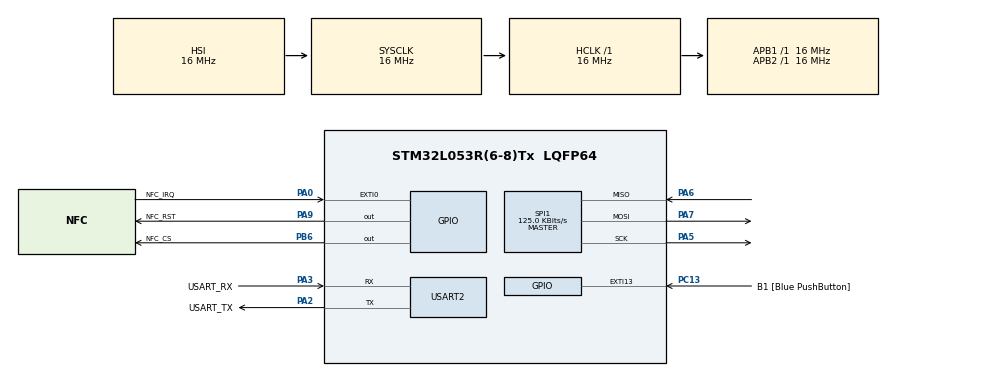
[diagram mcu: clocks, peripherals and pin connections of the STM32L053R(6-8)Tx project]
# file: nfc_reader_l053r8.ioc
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Mcu.Family=STM32L0
Mcu.Name=STM32L053R(6-8)Tx
Mcu.Package=LQFP64
PA0.GPIO_Label=NFC_IRQ
PA0.GPIO_ModeDefaultEXTI=GPIO_MODE_IT_RISING
PA0.GPIO_PuPd=GPIO_NOPULL
PA0.Signal=GPXTI0
PA13.GPIO_Label=TMS
PA13.Mode=Serial_Wire
PA13.Signal=SYS_SWDIO
PA14.GPIO_Label=TCK
PA14.Mode=Serial_Wire
PA14.Signal=SYS_SWCLK
PA2.GPIO_Label=USART_TX
PA2.Mode=Asynchronous
PA2.Signal=USART2_TX
PA3.GPIO_Label=USART_RX
PA3.Mode=Asynchronous
PA3.Signal=USART2_RX
PA5.Mode=Full_Duplex_Master
PA5.Signal=SPI1_SCK
PA6.Mode=Full_Duplex_Master
PA6.Signal=SPI1_MISO
PA7.Mode=Full_Duplex_Master
PA7.Signal=SPI1_MOSI
PA9.GPIO_Label=NFC_RST
PA9.PinState=GPIO_PIN_RESET
PA9.Signal=GPIO_Output
PB6.GPIO_Label=NFC_CS
PB6.PinState=GPIO_PIN_SET
PB6.Signal=GPIO_Output
PC13.GPIO_Label=B1 [Blue PushButton]
PC13.GPIO_ModeDefaultEXTI=GPIO_MODE_IT_FALLING
PC13.Signal=GPXTI13
PC14-OSC32_IN.Mode=LSE-External-Oscillator
PC14-OSC32_IN.Signal=RCC_OSC32_IN
PC15-OSC32_OUT.Mode=LSE-External-Oscillator
PC15-OSC32_OUT.Signal=RCC_OSC32_OUT
PH0-OSC_IN.Mode=HSE-External-Clock-Source
PH0-OSC_IN.Signal=RCC_OSC_IN
PH1-OSC_OUT.Signal=RCC_OSC_OUT
ProjectManager.HeapSize=0x200
ProjectManager.StackSize=0x400
ProjectManager.TargetToolchain=STM32CubeIDE
RCC.AHBFreq_Value=16000000
RCC.APB1Freq_Value=16000000
RCC.APB1TimFreq_Value=16000000
RCC.APB2Freq_Value=16000000
RCC.APB2TimFreq_Value=16000000
RCC.HCLKFreq_Value=16000000
RCC.HSE_VALUE=8000000
RCC.HSI16_VALUE=16000000
RCC.HSI48_VALUE=48000000
RCC.HSI_VALUE=16000000
RCC.MSI_VALUE=2097000
RCC.SYSCLKFreq_VALUE=16000000
RCC.SYSCLKSource=RCC_SYSCLKSOURCE_HSI
RCC.VCOOutputFreq_Value=48000000
SPI1.BaudRatePrescaler=SPI_BAUDRATEPRESCALER_128
SPI1.CLKPhase=SPI_PHASE_2EDGE
SPI1.CalculateBaudRate=125.0 KBits/s
SPI1.Direction=SPI_DIRECTION_2LINES
SPI1.Mode=SPI_MODE_MASTER
SPI1.VirtualType=VM_MASTER
TIM2.Prescaler=15
USART2.VirtualMode-Asynchronous=VM_ASYNC
VP_TIM2_VS_ClockSourceINT.Mode=Internal
board=NUCLEO-L053R8

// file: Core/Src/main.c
/* USER CODE BEGIN Header */
/**
 ******************************************************************************
 * @file           : main.c
 * @brief          : Main program body
 ******************************************************************************
 * @attention
 *
 * Copyright (c) 2026 STMicroelectronics.
 * All rights reserved.
 *
 * This software is licensed under terms that can be found in the LICENSE file
 * in the root directory of this software component.
 * If no LICENSE file comes with this software, it is provided AS-IS.
 *
 ******************************************************************************
 */
/* USER CODE END Header */
#include "main.h"
#include "spi.h"
#include "tim.h"
#include "usart.h"
#include "gpio.h"

/* USER CODE BEGIN Includes */

#include "rfal_utils.h"
#include "rfal_nfc.h"
#include "rfal_rf.h"
#include "rfal_nfca.h"
#include "rfal_t2t.h"
#include "st_errno.h"

#include <string.h>
#include <stdio.h>

#include "tim.h"

/* USER CODE END Includes */

/* USER CODE BEGIN PTD */

typedef enum
{
  APP_STATE_DISCOVER = 0,
  APP_STATE_ACTIVE_READ
} AppState_t;

/* USER CODE END PTD */

/* USER CODE BEGIN PD */

#define DEBUG_LOG               1U

#define APP_MODE_LPC_TEST       1U

#define APP_T2T_CHUNK_LEN       RFAL_T2T_READ_DATA_LEN
#define APP_T2T_START_PAGE      4U
#define APP_T2T_CMD_FAST_READ   0x3AU
#define APP_T2T_PAGE_LEN        4U
#define APP_T2T_FAST_FWT        rfalConvMsTo1fc(6U)
#define APP_USE_T2T_FAST_READ   1U

#define APP_STREAM_INTERVAL_US   ((uint32_t)APP_STREAM_INTERVAL_MS * 1000U)
#define APP_DEADLINE_SLACK_US    500U
#define APP_STAT_READ_WINDOW	 20U

#if APP_MODE_LPC_TEST
  #define APP_RAW_READ_LEN        100U
  #define APP_PAYLOAD_LEN         100U
  #define APP_STREAM_INTERVAL_MS  10U
#else
  #define APP_RAW_READ_LEN        100U
  #define APP_PAYLOAD_LEN         100U
  #define APP_STREAM_INTERVAL_MS  10U
#endif

/* USER CODE END PD */

/* USER CODE BEGIN PV */

volatile uint32_t exti_cb_cnt = 0;
volatile uint16_t last_exti_pin = 0;
volatile uint32_t st25r_irq_cnt = 0;

static AppState_t appState = APP_STATE_DISCOVER;
static rfalNfcDiscoverParam discParam;

static uint32_t stat_last_ms = 0;
static uint32_t read_ok_cnt = 0;
static uint32_t read_err_cnt = 0;
static uint32_t read_overrun_cnt = 0;
static uint32_t payload_change_cnt = 0;
static uint32_t valid_frame_cnt = 0;
static uint32_t invalid_frame_cnt = 0;
static uint8_t stats_armed = 0;

static uint32_t read_us_last = 0;
static uint16_t last_crc16 = 0;

static uint32_t read_time_us_last = 0;
static uint32_t read_time_us_min = 0xFFFFFFFFU;

static uint32_t read_time_us_max = 0U;

static uint32_t cycle_time_us_last = 0;
static uint32_t cycle_time_us_min = 0xFFFFFFFFU;
static uint32_t cycle_time_us_max = 0U;

static uint16_t last_read_start_us = 0;
static uint32_t missed_deadline_cnt = 0;
static uint16_t last_cycle_mark_us = 0;

static uint32_t stat_read_count = 0;
static uint32_t stat_read_sum_us = 0;
static uint32_t stat_cycle_sum_us = 0;

/* USER CODE END PV */

void SystemClock_Config(void);

/* USER CODE BEGIN PFP */

static ReturnCode appReadCurrentTag(rfalNfcDevice *dev, uint8_t *buf, uint16_t bufSize, uint16_t *outLen);
static void appProcessCurrentTagData(rfalNfcDevice *dev, const uint8_t *buf, uint16_t len);

/* USER CODE END PFP */

/* USER CODE BEGIN 0 */

static inline uint16_t timer_now_us(void)
{
  return (uint16_t)__HAL_TIM_GET_COUNTER(&htim2);
}

static inline uint32_t timer_diff_us(uint16_t newer, uint16_t older)
{
  return (uint16_t)(newer - older);
}

static inline void stat_update_minmax(uint32_t v, uint32_t *minv, uint32_t *maxv)
{
  if (v < *minv) *minv = v;
  if (v > *maxv) *maxv = v;
}

static void dbg_print(const char *s)
{
#if DEBUG_LOG
  HAL_UART_Transmit(&huart2, (uint8_t*)s, (uint16_t)strlen(s), 1000);
#else
  (void)s;
#endif
}

static void dbg_hexln(const uint8_t *b, uint16_t len)
{
#if DEBUG_LOG
  char t[5];
  for (uint16_t i = 0; i < len; i++) {
    snprintf(t, sizeof(t), "%02X ", b[i]);
    dbg_print(t);
  }
  dbg_print("\r\n");
  dbg_print("BUILD: timing_v3_16B_10ms\r\n");
#else
  (void)b;
  (void)len;
#endif
}

static uint16_t app_crc16_ccitt(const uint8_t *data, uint16_t len)
{
  uint16_t crc = 0xFFFF;

  for (uint16_t i = 0; i < len; i++)
  {
    crc ^= ((uint16_t)data[i] << 8);
    for (uint8_t j = 0; j < 8; j++)
    {
      if ((crc & 0x8000U) != 0U)
      {
        crc = (uint16_t)((crc << 1) ^ 0x1021U);
      }
      else
      {
        crc <<= 1;
      }
    }
  }
  return crc;
}

static ReturnCode t2t_fast_read_bytes(uint8_t startPage, uint8_t *dst, uint16_t wantLen, uint16_t *outLen)
{
  ReturnCode rc;
  uint8_t req[3];
  uint8_t endPage;
  uint16_t rcvLen = 0;
  uint16_t pagesToRead;

  if ((dst == NULL) || (outLen == NULL))
  {
    return ERR_PARAM;
  }

  if ((wantLen == 0U) || ((wantLen % APP_T2T_PAGE_LEN) != 0U))
  {
    *outLen = 0;
    return ERR_PARAM;
  }

  pagesToRead = (uint16_t)(wantLen / APP_T2T_PAGE_LEN);
  endPage = (uint8_t)(startPage + pagesToRead - 1U);

  req[0] = APP_T2T_CMD_FAST_READ;
  req[1] = startPage;
  req[2] = endPage;

  rc = rfalTransceiveBlockingTxRx(req,
                                  sizeof(req),
                                  dst,
                                  wantLen,
                                  &rcvLen,
                                  RFAL_TXRX_FLAGS_DEFAULT,
                                  APP_T2T_FAST_FWT);

  if (rc != ERR_NONE)
  {
    *outLen = rcvLen;
    return rc;
  }

  if (rcvLen != wantLen)
  {
    *outLen = rcvLen;
    return ERR_REQUEST;
  }

  *outLen = rcvLen;
  return ERR_NONE;
}

static ReturnCode t2t_read_bytes(uint8_t startPage, uint8_t *dst, uint16_t wantLen, uint16_t *outLen)
{
  ReturnCode rc;
  uint16_t total = 0;
  uint8_t page = startPage;

  while (total < wantLen)
  {
    uint8_t rx[APP_T2T_CHUNK_LEN];
    uint16_t rcvLen = 0;

    rc = rfalT2TPollerRead(page, rx, sizeof(rx), &rcvLen);
    if (rc != ERR_NONE)
    {
      *outLen = total;
      return rc;
    }

    if (rcvLen != APP_T2T_CHUNK_LEN)
    {
      *outLen = total;
      return ERR_REQUEST;
    }

    {
      uint16_t copyLen = ((wantLen - total) > APP_T2T_CHUNK_LEN) ? APP_T2T_CHUNK_LEN : (wantLen - total);
      memcpy(&dst[total], rx, copyLen);
      total += copyLen;
    }

    page += 4U;   /* READ(page) liest 4 Pages = 16 Byte */
  }

  *outLen = total;
  return ERR_NONE;
}

static void appLogHeartbeat(uint8_t devCnt, rfalNfcState state)
{
  (void)devCnt;
  (void)state;
}

static void appReportTag(rfalNfcDevice *dev)
{
#if DEBUG_LOG
  char s[160];

  snprintf(s, sizeof(s),
    "TAG FOUND: type=%u rfIf=%u uidLen=%u\r\n",
    (unsigned)dev->type,
    (unsigned)dev->rfInterface,
    (unsigned)dev->nfcidLen);
  dbg_print(s);

  dbg_print("UID: ");
  dbg_hexln(dev->nfcid, dev->nfcidLen);

  if (dev->type == RFAL_NFC_LISTEN_TYPE_NFCA)
  {
    snprintf(s, sizeof(s),
      "NFCA subtype=%u SAK=0x%02X\r\n",
      (unsigned)dev->dev.nfca.type,
      (unsigned)dev->dev.nfca.selRes.sak);
    dbg_print(s);
  }
#else
  (void)dev;
#endif
}

static ReturnCode appReadCurrentTag(rfalNfcDevice *dev, uint8_t *buf, uint16_t bufSize, uint16_t *outLen)
{
  ReturnCode rc;

  if (bufSize < APP_RAW_READ_LEN)
  {
    *outLen = 0;
    return ERR_PARAM;
  }

  if ((dev->type != RFAL_NFC_LISTEN_TYPE_NFCA) ||
      (dev->dev.nfca.type != RFAL_NFCA_T2T))
  {
    *outLen = 0;
    return ERR_REQUEST;
  }

#if APP_USE_T2T_FAST_READ
  rc = t2t_fast_read_bytes(APP_T2T_START_PAGE, buf, APP_RAW_READ_LEN, outLen);
  if (rc == ERR_NONE)
  {
    return ERR_NONE;
  }

#if DEBUG_LOG
  {
    char s[80];
    snprintf(s, sizeof(s), "FAST_READ rc=%d -> fallback READ\r\n", (int)rc);
    dbg_print(s);
  }
#endif
#endif

  return t2t_read_bytes(APP_T2T_START_PAGE, buf, APP_RAW_READ_LEN, outLen);
}

static void appProcessCurrentTagData(rfalNfcDevice *dev, const uint8_t *buf, uint16_t len)
{
  (void)dev;
  (void)buf;

  if (len < APP_PAYLOAD_LEN)
  {
    invalid_frame_cnt++;
    return;
  }

  valid_frame_cnt++;
}

static void appStartDiscover(void)
{
  ReturnCode err;
#if DEBUG_LOG
  char s[64];
#endif

  err = rfalNfcDeactivate(false);
#if DEBUG_LOG
  if ((int)err != 33)   /* wrong state on first startup is harmless in this project */
  {
    snprintf(s, sizeof(s), "rfalNfcDeactivate err=%d\r\n", (int)err);
    dbg_print(s);
  }
#endif

  err = rfalNfcDiscover(&discParam);
#if DEBUG_LOG
  snprintf(s, sizeof(s), "rfalNfcDiscover err=%d\r\n", (int)err);
  dbg_print(s);
#endif

  appState = APP_STATE_DISCOVER;
}

static void appHandleDiscover(void)
{
  rfalNfcDevice *devList = NULL;
  uint8_t devCnt = 0;
  rfalNfcState state = rfalNfcGetState();
  uint16_t now_us;

  rfalNfcGetDevicesFound(&devList, &devCnt);
  appLogHeartbeat(devCnt, state);

  if ((devCnt > 0U) && (state == RFAL_NFC_STATE_ACTIVATED))
  {
    appReportTag(&devList[0]);

    now_us = timer_now_us();

    stat_last_ms = HAL_GetTick();
    read_ok_cnt = 0;
    read_err_cnt = 0;
    read_overrun_cnt = 0;
    payload_change_cnt = 0;
    valid_frame_cnt = 0;
    invalid_frame_cnt = 0;
    missed_deadline_cnt = 0;

    stat_read_count = 0;
    stat_read_sum_us = 0;
    stat_cycle_sum_us = 0;

    read_time_us_last = 0;
    read_time_us_min = 0xFFFFFFFFU;
    read_time_us_max = 0U;

    cycle_time_us_last = 0;
    cycle_time_us_min = 0xFFFFFFFFU;
    cycle_time_us_max = 0U;

    last_read_start_us = 0;
    last_cycle_mark_us = now_us;
    stats_armed = 0;

    appState = APP_STATE_ACTIVE_READ;
  }
}

static void appHandleActiveRead(void)
{
  rfalNfcDevice *devList = NULL;
  uint8_t devCnt = 0;
  rfalNfcState state = rfalNfcGetState();
  uint8_t rx[APP_RAW_READ_LEN];
  uint16_t rcvLen = 0;
  ReturnCode rc;
  rfalNfcDevice *dev;
  uint16_t now_us;
  uint16_t t0_us;
  uint16_t t1_us;
  uint32_t cycle_us;

  rfalNfcGetDevicesFound(&devList, &devCnt);
  appLogHeartbeat(devCnt, state);

  if ((devCnt == 0U) || (state != RFAL_NFC_STATE_ACTIVATED))
  {
#if DEBUG_LOG
    dbg_print("TAG LOST -> rediscover\r\n");
#endif
    appStartDiscover();
    return;
  }

  now_us = timer_now_us();
  cycle_us = timer_diff_us(now_us, last_cycle_mark_us);

  if (cycle_us < APP_STREAM_INTERVAL_US)
  {
    return;
  }

  cycle_time_us_last = cycle_us;
  stat_update_minmax(cycle_us, &cycle_time_us_min, &cycle_time_us_max);

  if (cycle_us > (APP_STREAM_INTERVAL_US + APP_DEADLINE_SLACK_US))
  {
    read_overrun_cnt++;
    missed_deadline_cnt++;
  }

  /* Deadline-basiert weiterschieben, damit kein Drift entsteht */
  do
  {
    last_cycle_mark_us = (uint16_t)(last_cycle_mark_us + APP_STREAM_INTERVAL_US);
  }
  while (timer_diff_us(now_us, last_cycle_mark_us) >= APP_STREAM_INTERVAL_US);

  dev = &devList[0];

  t0_us = timer_now_us();
  last_read_start_us = t0_us;

  rc = appReadCurrentTag(dev, rx, sizeof(rx), &rcvLen);

  t1_us = timer_now_us();
  read_time_us_last = timer_diff_us(t1_us, t0_us);
  stat_update_minmax(read_time_us_last, &read_time_us_min, &read_time_us_max);

  if (rc != ERR_NONE)
  {
    read_err_cnt++;
#if DEBUG_LOG
    {
      char s[80];
      snprintf(s, sizeof(s), "READ ERROR rc=%d -> rediscover\r\n", (int)rc);
      dbg_print(s);
    }
#endif
    appStartDiscover();
    return;
  }

  read_ok_cnt++;
  appProcessCurrentTagData(dev, rx, rcvLen);

  stat_read_count++;
  stat_read_sum_us += read_time_us_last;
  stat_cycle_sum_us += cycle_time_us_last;

  if (stat_read_count >= APP_STAT_READ_WINDOW)
  {
  #if DEBUG_LOG
    char s[260];
    uint32_t avg_read_us = stat_read_sum_us / stat_read_count;
    uint32_t avg_cycle_us = stat_cycle_sum_us / stat_read_count;
    uint32_t rate_hz = (avg_cycle_us > 0U) ? (1000000U / avg_cycle_us) : 0U;

    snprintf(s, sizeof(s),
      "N=%lu rate~=%luHz read_us=%lu [%lu..%lu] cycle_us=%lu [%lu..%lu] miss=%lu err=%lu valid=%lu invalid=%lu\r\n",
      (unsigned long)stat_read_count,
      (unsigned long)rate_hz,
      (unsigned long)avg_read_us,
      (unsigned long)read_time_us_min,
      (unsigned long)read_time_us_max,
      (unsigned long)avg_cycle_us,
      (unsigned long)cycle_time_us_min,
      (unsigned long)cycle_time_us_max,
      (unsigned long)missed_deadline_cnt,
      (unsigned long)read_err_cnt,
      (unsigned long)valid_frame_cnt,
      (unsigned long)invalid_frame_cnt);
    dbg_print(s);
  #endif

    stat_read_count = 0;
    stat_read_sum_us = 0;
    stat_cycle_sum_us = 0;

    read_ok_cnt = 0;
    read_err_cnt = 0;
    read_overrun_cnt = 0;
    missed_deadline_cnt = 0;
    valid_frame_cnt = 0;
    invalid_frame_cnt = 0;

    read_time_us_min = 0xFFFFFFFFU;
    read_time_us_max = 0U;
    cycle_time_us_min = 0xFFFFFFFFU;
    cycle_time_us_max = 0U;
  }
}

/* USER CODE END 0 */

int main(void)
{

  /* MCU Configuration--------------------------------------------------------*/

  /* Reset of all peripherals, Initializes the Flash interface and the Systick. */
  HAL_Init();

  /* Configure the system clock */

  SystemClock_Config();

  /* Initialize all configured peripherals */
  MX_GPIO_Init();
  MX_USART2_UART_Init();
  MX_SPI1_Init();
  MX_TIM2_Init();
  /* USER CODE BEGIN 2 */

  HAL_TIM_Base_Start(&htim2);
  {
    char s[120];
    snprintf(s, sizeof(s),
             "SYSCLK=%lu HCLK=%lu PCLK1=%lu\r\n",
             HAL_RCC_GetSysClockFreq(),
             HAL_RCC_GetHCLKFreq(),
             HAL_RCC_GetPCLK1Freq());
    dbg_print(s);
  }
  {
    uint16_t t0 = timer_now_us();
    HAL_Delay(20);
    uint16_t t1 = timer_now_us();

    char s[80];
    snprintf(s, sizeof(s),
             "TIM2 delta for 20ms delay = %u\r\n",
             (unsigned)timer_diff_us(t1, t0));
    dbg_print(s);
  }

  dbg_print("UART OK\r\n");
  platformResetST25R();
  dbg_print("Reset done\r\n");

  ReturnCode err;
  char b[48];

  err = rfalInitialize();
  snprintf(b, sizeof(b), "rfalInitialize err=%d\r\n", (int)err);
  dbg_print(b);
  if (err != ERR_NONE) Error_Handler();

  err = rfalNfcInitialize();
  snprintf(b, sizeof(b), "rfalNfcInitialize err=%d\r\n", (int)err);
  dbg_print(b);
  if (err != ERR_NONE) Error_Handler();

  memset(&discParam, 0, sizeof(discParam));
  discParam.compMode      = RFAL_COMPLIANCE_MODE_NFC;
  discParam.devLimit      = 1;
  discParam.techs2Find    = RFAL_NFC_POLL_TECH_A;
  discParam.totalDuration = 3000;

  appStartDiscover();

  /* USER CODE END 2 */

  /* Infinite loop */
  /* USER CODE BEGIN WHILE */

  while (1)
  {
    rfalNfcWorker();

    switch (appState)
    {
      case APP_STATE_DISCOVER:
        appHandleDiscover();
        break;

      case APP_STATE_ACTIVE_READ:
        appHandleActiveRead();
        break;

      default:
        appStartDiscover();
        break;
    }
  }

    /* USER CODE END WHILE */

}

void SystemClock_Config(void)
{
  RCC_OscInitTypeDef RCC_OscInitStruct = {0};
  RCC_ClkInitTypeDef RCC_ClkInitStruct = {0};
  RCC_PeriphCLKInitTypeDef PeriphClkInit = {0};

  /** Configure the main internal regulator output voltage
  */
  __HAL_PWR_VOLTAGESCALING_CONFIG(PWR_REGULATOR_VOLTAGE_SCALE1);

  /** Initializes the RCC Oscillators according to the specified parameters
  * in the RCC_OscInitTypeDef structure.
  */
  RCC_OscInitStruct.OscillatorType = RCC_OSCILLATORTYPE_HSI;
  RCC_OscInitStruct.HSIState = RCC_HSI_ON;
  RCC_OscInitStruct.HSICalibrationValue = RCC_HSICALIBRATION_DEFAULT;
  RCC_OscInitStruct.PLL.PLLState = RCC_PLL_NONE;
  if (HAL_RCC_OscConfig(&RCC_OscInitStruct) != HAL_OK)
  {
    Error_Handler();
  }

  /** Initializes the CPU, AHB and APB buses clocks
  */
  RCC_ClkInitStruct.ClockType = RCC_CLOCKTYPE_HCLK|RCC_CLOCKTYPE_SYSCLK
                              |RCC_CLOCKTYPE_PCLK1|RCC_CLOCKTYPE_PCLK2;
  RCC_ClkInitStruct.SYSCLKSource = RCC_SYSCLKSOURCE_HSI;
  RCC_ClkInitStruct.AHBCLKDivider = RCC_SYSCLK_DIV1;
  RCC_ClkInitStruct.APB1CLKDivider = RCC_HCLK_DIV1;
  RCC_ClkInitStruct.APB2CLKDivider = RCC_HCLK_DIV1;

  if (HAL_RCC_ClockConfig(&RCC_ClkInitStruct, FLASH_LATENCY_0) != HAL_OK)
  {
    Error_Handler();
  }
  PeriphClkInit.PeriphClockSelection = RCC_PERIPHCLK_USART2;
  PeriphClkInit.Usart2ClockSelection = RCC_USART2CLKSOURCE_PCLK1;
  if (HAL_RCCEx_PeriphCLKConfig(&PeriphClkInit) != HAL_OK)
  {
    Error_Handler();
  }
}

/* USER CODE BEGIN 4 */

void HAL_GPIO_EXTI_Callback(uint16_t GPIO_Pin)
{
  exti_cb_cnt++;
  last_exti_pin = GPIO_Pin;

  if (GPIO_Pin == GPIO_PIN_0) {        // PA0 = IRQ_MCU
    st25r_irq_cnt++;
    platformIrqST25RCallCallback();
  }
}

/* USER CODE END 4 */

void Error_Handler(void)
{
		__disable_irq();
		while (1) {
		}
}
